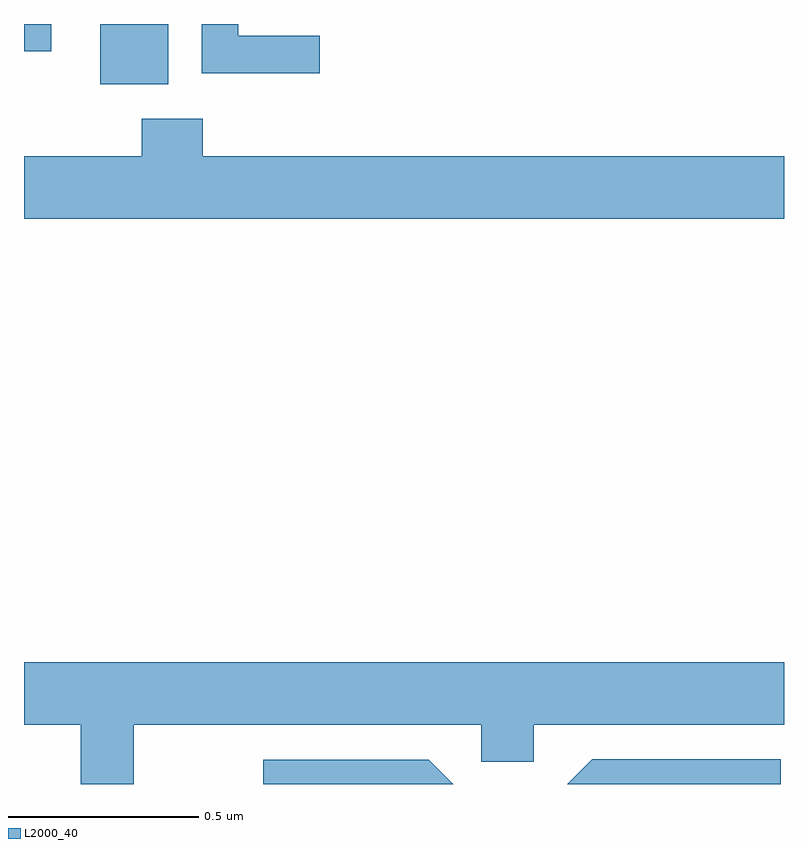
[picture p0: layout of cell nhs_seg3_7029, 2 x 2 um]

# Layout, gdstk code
import gdstk
lib = gdstk.Library(unit=1e-6, precision=1e-09)
def R(c, l, rs):  # rectangles x0, y0, x1, y1
    for r in rs: c.add(gdstk.rectangle(r[:2], r[2:], *l))
def P(c, l, *ps):  # polygons
    for p in ps: c.add(gdstk.Polygon(p, *l))
L2000_40 = (2000, 40)

nhs_seg3_7029 = lib.new_cell('nhs_seg3_7029')
R(nhs_seg3_7029, L2000_40, [(198.2,729.242,198.379,729.4), (198,729.328,198.072,729.4)])
P(nhs_seg3_7029, L2000_40, [(198.778,729.369),(198.564,729.369),(198.564,729.4),(198.468,729.4),(198.468,729.271),(198.778,729.271)],
  [(200,729.052),(198.47,729.052),(198.47,729.151),(198.31,729.151),(198.31,729.052),(198,729.052),(198,728.888),(200,728.888)],
  [(198.289,727.556),(199.203,727.556),(199.203,727.458),(199.341,727.458),(199.341,727.556),(200,727.556),(200,727.72),(198,727.72),(198,727.556),(198.149,727.556),(198.149,727.4),(198.289,727.4)],
  [(199.992,727.465),(199.495,727.465),(199.43,727.4),(199.992,727.4)],
  [(199.065,727.464),(198.63,727.464),(198.63,727.4),(199.129,727.4)])

lib.write_gds('nhs_seg3_7029.gds')
